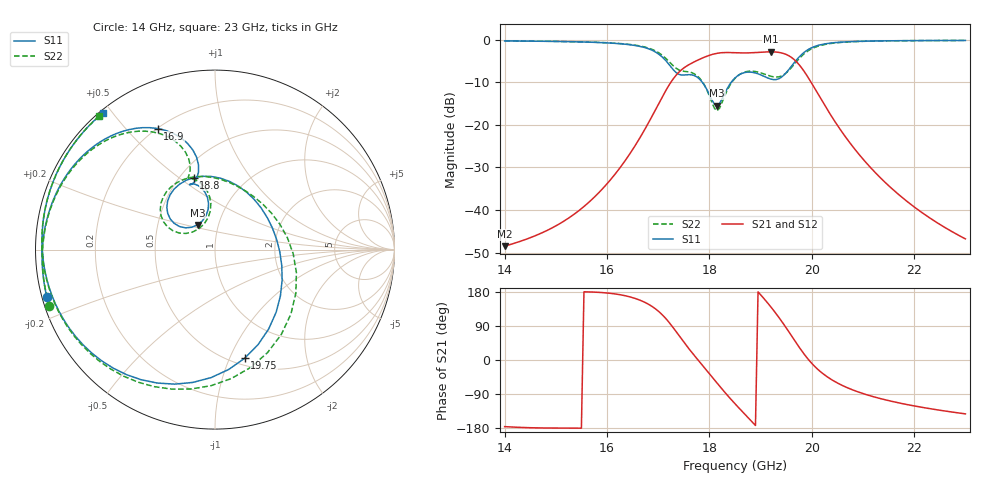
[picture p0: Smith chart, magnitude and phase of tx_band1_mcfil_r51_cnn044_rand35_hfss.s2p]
! Touchstone file exported from HFSS 3D Layout Design 2026.1.0
!  File:  D:/Work/SIM/ADS_AUTO_SIM/projects/RFSOC_RF/TX_Fillter.aedt
!  Generated:  05:09:27 AM Aug 31, 2026
!  Design:  TX_BAND1_MCFIL_R51_CNN044
!  Project:  TX_Fillter
# GHz S MA R 50.000000
! Terminal data exported
! Port[1] = Port1
! Port[2] = Port2
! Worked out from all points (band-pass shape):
!   181 points, 14 GHz to 23 GHz, reference 50 ohm
!   highest |S21| = -2.80 dB at 19.2 GHz (marker M1); lowest = -48.5 dB at 14 GHz (marker M2)
!   |S21| within 3 dB of the highest: 17.6 GHz to 19.75 GHz (2.147 GHz wide, 11.5 % of centre)
!   lowest |S11| = -15.5 dB at 18.15 GHz (marker M3), VSWR 1.41, Z = 39.7 + j11.3 ohm
!   |S11| at or under -10 dB: 17.86 GHz to 18.43 GHz (562.2 MHz wide, 3.1 % of centre)
!   |S22| runs from -16.7 to -0.1 dB; largest |S21 - S12| = 1.6e-14
!   S11 on the Smith chart (normalised r, x): 14 GHz: 0.01, -0.14; 16.9 GHz: 0.20, +0.61; 18.8 GHz: 0.58, +0.57; 19.75 GHz: 0.57, -1.14; 23 GHz: 0.01, +0.47
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14  0.973 -164.2  0.00376 -175.8  0.00376 -175.8  0.9738 -161.2
15.5  0.9459 165.3  0.01039 -179.9  0.01039 -179.9  0.948 168.6
16.3  0.8964 142.3  0.03425 171.1  0.03425 171.1  0.9017 146.1
16.9  0.7462 115.3  0.1335 139.5  0.1335 139.5  0.7645 120.4
17  0.6875 109.7  0.1735 129.2  0.1735 129.2  0.7116 115.1
17.25  0.4807 101.0  0.3194 92.9  0.3194 92.9  0.5269 106.2
17.5  0.3861 111.0  0.4675 47.2  0.4675 47.2  0.4278 110.6
17.85  0.3243 99.9  0.6072 -11.6  0.6072 -11.6  0.3304 97.7
18.15  0.1688 125.2  0.6955 -60.8  0.6955 -60.8  0.1467 127.1
18.3  0.2356 147.0  0.71 -85.1  0.71 -85.1  0.2207 155.2
18.5  0.3568 138.8  0.7069 -115.5  0.7069 -115.5  0.3537 148.0
18.8  0.4182 106.4  0.7047 -158.3  0.7047 -158.3  0.4292 119.7
19  0.3886 78.1  0.7161 172.2  0.7161 172.2  0.4102 97.3
19.2  0.3462 42.0  0.7242 140.1  0.7242 140.1  0.3741 70.3
19.45  0.3827 -13.5  0.6917 94.7  0.6917 94.7  0.388 21.5
19.6  0.4882 -45.8  0.624 64.7  0.624 64.7  0.4712 -15.7
19.75  0.6275 -74.7  0.513 34.4  0.513 34.4  0.6001 -52.0
20  0.8104 -113.5  0.3077 -8.9  0.3077 -8.9  0.7879 -99.7
20.25  0.8964 -140.0  0.1714 -39.4  0.1714 -39.4  0.8831 -131.0
20.55  0.9394 -161.3  0.0895 -64.1  0.0895 -64.1  0.9325 -155.3
21.5  0.9759 161.3  0.01936 -107.2  0.01936 -107.2  0.9748 164.1
23  0.9849 129.3  0.004581 -142.2  0.004581 -142.2  0.9849 130.8
